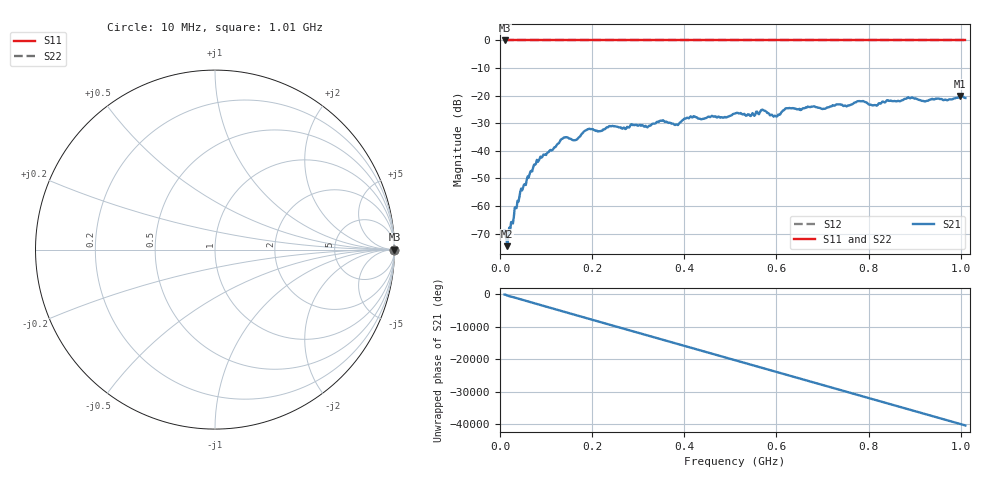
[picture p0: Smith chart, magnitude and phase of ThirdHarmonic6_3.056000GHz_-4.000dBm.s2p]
! 8/17/2025 8:53:25 AM
! C:\ANRITSUVNA\TEMP\TEMP.S2P
! CHANNEL.1
! TR.MEASUREMENT
! RAW.DATA
! RF.CORRECTION.OFF
! AVERAGING.OFF
! IF.BANDWIDTH: 5KHZ
! SWEEPTYPE:  FREQ.SWEEP(Linear)
! Reference Plane Port Info
! PORT:  PORT1  PORT2
! DISTANCE:  0  m  0  m
! TIME:  0  s  0  s
! PHASE.OFFSET:  0  deg.  0  deg.
! LOSS:  0  dB  0  dB
! REF.LOSS:  0  dB  0  dB
! REF.FREQ:  0  Hz  0  Hz
! Power Info
! POWER:  -20  dBm  -20  dBm
! EFF.POWER:  -20  dBm  -20  dBm
! SOURCE.ATTEN:  0  dB  0  dB
! TEST.ATTEN:  0  dB  0  dB
# GHZ S RI R 50.0
! FREQ.GHZ  S11RE  S11IM  S21RE  S21IM  S12RE  S12IM  S22RE  S22IM
!; PortSelection: Port_12
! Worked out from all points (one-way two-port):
!   501 points, 10 MHz to 1.01 GHz, reference 50 ohm
!   highest |S21| = -20.17 dB at 998 MHz (marker M1); lowest = -74.6 dB at 16 MHz (marker M2)
!   lowest |S11| = 0.0 dB at 10 MHz (marker M3)
!   |S11| at or under -10 dB: nowhere
!   |S22| runs from 0.0 to 0.0 dB; largest |S21 - S12| = 1.1
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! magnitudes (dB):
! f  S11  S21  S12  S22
! 10 MHz  0.0  -68.8  0.0  0.0
! 16 MHz  0.0  -74.6  0.0  0.0
! 48 MHz  0.0  -54.4  0.0  0.0
! 76 MHz  0.0  -45.0  0.0  0.0
! 136 MHz  0.0  -35.6  0.0  0.0
! 162 MHz  0.0  -36.2  0.0  0.0
! 178 MHz  0.0  -33.8  0.0  0.0
! 194 MHz  0.0  -32.0  0.0  0.0
! 318 MHz  0.0  -31.3  0.0  0.0
! 344 MHz  0.0  -29.6  0.0  0.0
! 382 MHz  0.0  -30.5  0.0  0.0
! 416 MHz  0.0  -27.8  0.0  0.0
! 510 MHz  0.0  -26.4  0.0  0.0
! 570 MHz  0.0  -25.1  0.0  0.0
! 598 MHz  0.0  -27.4  0.0  0.0
! 624 MHz  0.0  -24.6  0.0  0.0
! 678 MHz  0.0  -24.0  0.0  0.0
! 780 MHz  0.0  -22.0  0.0  0.0
! 814 MHz  0.0  -23.4  0.0  0.0
! 844 MHz  0.0  -21.9  0.0  0.0
! 998 MHz  0.0  -20.2  0.0  0.0
! 1.01 GHz  0.0  -20.8  0.0  0.0
